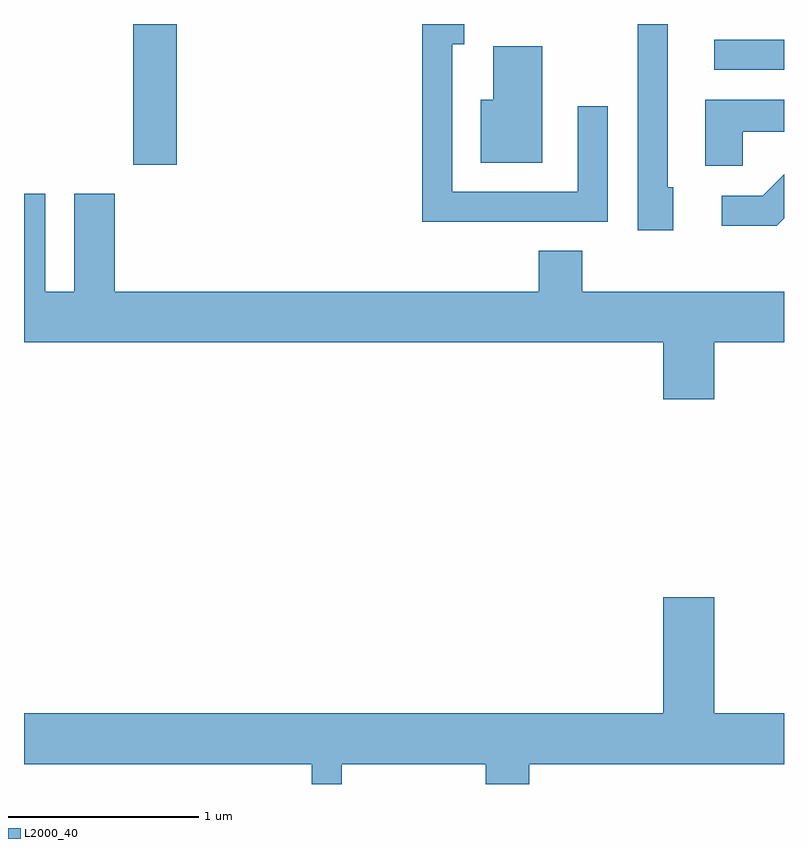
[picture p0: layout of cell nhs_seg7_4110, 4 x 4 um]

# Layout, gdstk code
import gdstk
lib = gdstk.Library(unit=1e-6, precision=1e-09)
def R(c, l, rs):  # rectangles x0, y0, x1, y1
    for r in rs: c.add(gdstk.rectangle(r[:2], r[2:], *l))
def P(c, l, *ps):  # polygons
    for p in ps: c.add(gdstk.Polygon(p, *l))
L2000_40 = (2000, 40)

nhs_seg7_4110 = lib.new_cell('nhs_seg7_4110')
R(nhs_seg7_4110, L2000_40, [(312.186,1677.511,312.414,1678.252), (315.243,1678.011,315.611,1678.169)])
P(nhs_seg7_4110, L2000_40, [(315.029,1677.394),(314.999,1677.394),(314.999,1678.252),(314.841,1678.252),(314.841,1677.166),(315.029,1677.166)],
  [(314.684,1677.818),(314.526,1677.818),(314.526,1677.369),(313.864,1677.369),(313.864,1678.146),(313.929,1678.146),(313.929,1678.252),(313.706,1678.252),(313.706,1677.211),(314.684,1677.211)],
  [(314.339,1678.134),(314.081,1678.134),(314.081,1677.854),(314.016,1677.854),(314.016,1677.521),(314.339,1677.521)],
  [(315.394,1677.686),(315.611,1677.686),(315.611,1677.854),(315.196,1677.854),(315.196,1677.506),(315.394,1677.506)],
  [(315.611,1677.23),(315.611,1677.461),(315.499,1677.349),(315.283,1677.349),(315.283,1677.191),(315.572,1677.191)],
  [(315.244,1676.576),(315.611,1676.576),(315.611,1676.844),(314.549,1676.844),(314.549,1677.059),(314.321,1677.059),(314.321,1676.844),(312.089,1676.844),(312.089,1677.359),(311.876,1677.359),(311.876,1676.844),(311.724,1676.844),(311.724,1677.359),(311.611,1677.359),(311.611,1676.576),(314.976,1676.576),(314.976,1676.276),(315.244,1676.276)],
  [(313.284,1674.356),(314.041,1674.356),(314.041,1674.252),(314.269,1674.252),(314.269,1674.356),(315.611,1674.356),(315.611,1674.624),(315.244,1674.624),(315.244,1675.234),(314.976,1675.234),(314.976,1674.624),(311.611,1674.624),(311.611,1674.356),(313.126,1674.356),(313.126,1674.252),(313.284,1674.252)])

lib.write_gds('nhs_seg7_4110.gds')
